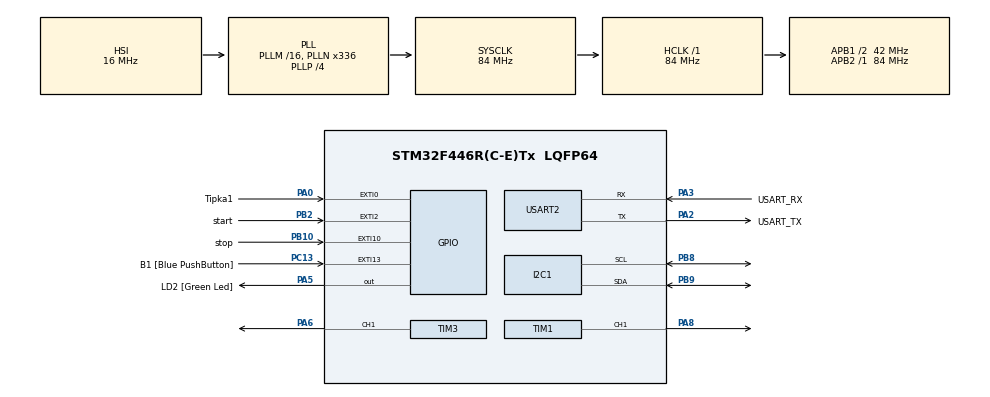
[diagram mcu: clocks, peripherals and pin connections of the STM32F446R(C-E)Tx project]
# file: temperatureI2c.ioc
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Mcu.Family=STM32F4
Mcu.Name=STM32F446R(C-E)Tx
Mcu.Package=LQFP64
NVIC.EXTI15_10_IRQn=true\:0\:0\:false\:false\:true\:true\:true\:true
NVIC.EXTI2_IRQn=true\:0\:0\:true\:false\:true\:true\:true\:true
NVIC.PriorityGroup=NVIC_PRIORITYGROUP_0
NVIC.TIM2_IRQn=true\:0\:0\:false\:false\:true\:true\:true\:true
NVIC.TIM3_IRQn=true\:0\:0\:false\:false\:true\:true\:true\:true
PA0-WKUP.GPIO_Label=Tipka1
PA0-WKUP.Signal=GPXTI0
PA13.GPIO_Label=TMS
PA13.Mode=Trace_Asynchronous_SW
PA13.Signal=SYS_JTMS-SWDIO
PA14.GPIO_Label=TCK
PA14.Mode=Trace_Asynchronous_SW
PA14.Signal=SYS_JTCK-SWCLK
PA2.GPIO_Label=USART_TX
PA2.Mode=Asynchronous
PA2.Signal=USART2_TX
PA3.GPIO_Label=USART_RX
PA3.Mode=Asynchronous
PA3.Signal=USART2_RX
PA5.GPIO_Label=LD2 [Green Led]
PA5.Signal=GPIO_Output
PA6.Signal=S_TIM3_CH1
PA8.Signal=S_TIM1_CH1
PB10.GPIO_Label=stop
PB10.GPIO_ModeDefaultEXTI=GPIO_MODE_IT_FALLING
PB10.GPIO_PuPd=GPIO_PULLUP
PB10.Signal=GPXTI10
PB2.GPIO_Label=start
PB2.GPIO_ModeDefaultEXTI=GPIO_MODE_IT_FALLING
PB2.GPIO_PuPd=GPIO_PULLUP
PB2.Signal=GPXTI2
PB3.GPIO_Label=SWO
PB3.Mode=Trace_Asynchronous_SW
PB3.Signal=SYS_JTDO-SWO
PB8.Mode=I2C
PB8.Signal=I2C1_SCL
PB9.Mode=I2C
PB9.Signal=I2C1_SDA
PC13.GPIO_Label=B1 [Blue PushButton]
PC13.GPIO_ModeDefaultEXTI=GPIO_MODE_IT_FALLING
PC13.Signal=GPXTI13
PC14-OSC32_IN.Mode=LSE-External-Oscillator
PC14-OSC32_IN.Signal=RCC_OSC32_IN
PC15-OSC32_OUT.Mode=LSE-External-Oscillator
PC15-OSC32_OUT.Signal=RCC_OSC32_OUT
PH0-OSC_IN.Mode=HSE-External-Oscillator
PH0-OSC_IN.Signal=RCC_OSC_IN
PH1-OSC_OUT.Mode=HSE-External-Oscillator
PH1-OSC_OUT.Signal=RCC_OSC_OUT
ProjectManager.HeapSize=0x200
ProjectManager.StackSize=0x400
ProjectManager.TargetToolchain=STM32CubeIDE
RCC.48MHZClocksFreq_Value=84000000
RCC.AHBFreq_Value=84000000
RCC.APB1CLKDivider=RCC_HCLK_DIV2
RCC.APB1Freq_Value=42000000
RCC.APB1TimFreq_Value=84000000
RCC.APB2Freq_Value=84000000
RCC.APB2TimFreq_Value=84000000
RCC.CortexFreq_Value=84000000
RCC.FLatency-AdvancedSettings=FLASH_LATENCY_2
RCC.HCLKFreq_Value=84000000
RCC.HSE_VALUE=8000000
RCC.HSI_VALUE=16000000
RCC.PLLN=336
RCC.PLLP=RCC_PLLP_DIV4
RCC.SYSCLKFreq_VALUE=84000000
RCC.SYSCLKSource=RCC_SYSCLKSOURCE_PLLCLK
RCC.USBFreq_Value=168000000
RCC.VCOOutputFreq_Value=336000000
SH.S_TIM1_CH1.0=TIM1_CH1,PWM Generation1 CH1
SH.S_TIM3_CH1.0=TIM3_CH1,PWM Generation1 CH1
TIM1.Channel-PWM\ Generation1\ CH1=TIM_CHANNEL_1
TIM1.Period=100-1
TIM1.Prescaler=84-1
TIM2.Period=50
TIM2.Prescaler=3200
TIM3.Channel-PWM\ Generation1\ CH1=TIM_CHANNEL_1
TIM3.Period=1000-1
TIM3.Prescaler=8399
USART2.VirtualMode=VM_ASYNC
VP_TIM1_VS_ClockSourceINT.Mode=Internal
VP_TIM2_VS_ClockSourceINT.Mode=Internal
VP_TIM3_VS_ClockSourceINT.Mode=Internal
board=NUCLEO-F446RE

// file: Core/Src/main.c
/* USER CODE BEGIN Header */
/**
  ******************************************************************************
  * @file           : main.c
  * @brief          : Main program body
  ******************************************************************************
  * @attention
  *
  * Copyright (c) 2024 STMicroelectronics.
  * All rights reserved.
  *
  * This software is licensed under terms that can be found in the LICENSE file
  * in the root directory of this software component.
  * If no LICENSE file comes with this software, it is provided AS-IS.
  *
  ******************************************************************************
  */
/* USER CODE END Header */
#include "main.h"

/* USER CODE BEGIN Includes */
#include <stdlib.h>	//c standard library for the print function
#include <stdio.h>
/* USER CODE END Includes */

/* USER CODE BEGIN PD */
//#define DEMO_PWM

extern int _write(int file, char *ptr, int len); /*ovo tu je deklaracija funkcije, funkcije "write" vraća int a njena definicija je u nekom vanjskom fileu*/
/* USER CODE END PD */

I2C_HandleTypeDef hi2c1;

TIM_HandleTypeDef htim1;
TIM_HandleTypeDef htim2;
TIM_HandleTypeDef htim3;

UART_HandleTypeDef huart2;

/* USER CODE BEGIN PV */
TIM_HandleTypeDef htim3; /*definicija globalnih varijabli*/
BMP280_HandleTypedef bmp280;
sensorData s = {}; /*u s se spremaju podaci senzora*/
bool mjerenjeOmoguceno = false;
/* USER CODE END PV */

void SystemClock_Config(void);
static void MX_GPIO_Init(void);
static void MX_USART2_UART_Init(void);
static void MX_I2C1_Init(void);
static void MX_TIM1_Init(void);
static void MX_TIM3_Init(void);
static void MX_TIM2_Init(void);
/* USER CODE BEGIN PFP */
static void MX_TIM3_Init(void);
/* USER CODE END PFP */

int main(void)
{

  /* MCU Configuration--------------------------------------------------------*/

  /* Reset of all peripherals, Initializes the Flash interface and the Systick. */
  HAL_Init();

  /* Configure the system clock */
  SystemClock_Config();

  /* Initialize all configured peripherals */
  MX_GPIO_Init();
  MX_USART2_UART_Init();
  MX_I2C1_Init();
  MX_TIM1_Init();
  MX_TIM3_Init();
  MX_TIM2_Init();
  /* USER CODE BEGIN 2 */
  MX_TIM3_Init();
  bmp280 = initBmpSensor(&hi2c1);
  initPwm(0, htim1); /*obavlja sve operacije koje su potrebne da bi neki komad sklopovlja radio*/

  int counter = 0;

#ifdef DEMO_PWM
  int pwmValue = 0;
#else

#endif

   HAL_NVIC_DisableIRQ(EXTI15_10_IRQn);

  /* USER CODE END 2 */

  /* Infinite loop */
  while (1)
  {

    /* USER CODE BEGIN 3 */

	// Blinky
	HAL_GPIO_TogglePin(GPIOA, GPIO_PIN_5);

	// Debug print
	printf("Counter=%d \r\n", counter++);

	// Read temperature
	if(mjerenjeOmoguceno){
		s = readAndPrintData(bmp280);
	}

	// adjust PWM value
#ifdef DEMO_PWM
	pwmValue = circularIncrementPwm(pwmValue);
#else
	temperaturePwm(s.temperature); /*iz varijable "s" izvlacimo i citamo vrijednost temperature*/
#endif

	// Wait 2 seconds before each reading
	HAL_Delay(2000);
  }
  /* USER CODE END 3 */
}

void SystemClock_Config(void)
{
  RCC_OscInitTypeDef RCC_OscInitStruct = {0};
  RCC_ClkInitTypeDef RCC_ClkInitStruct = {0};

  /** Configure the main internal regulator output voltage
  */
  __HAL_RCC_PWR_CLK_ENABLE();
  __HAL_PWR_VOLTAGESCALING_CONFIG(PWR_REGULATOR_VOLTAGE_SCALE3);

  /** Initializes the RCC Oscillators according to the specified parameters
  * in the RCC_OscInitTypeDef structure.
  */
  RCC_OscInitStruct.OscillatorType = RCC_OSCILLATORTYPE_HSI;
  RCC_OscInitStruct.HSIState = RCC_HSI_ON;
  RCC_OscInitStruct.HSICalibrationValue = RCC_HSICALIBRATION_DEFAULT;
  RCC_OscInitStruct.PLL.PLLState = RCC_PLL_ON;
  RCC_OscInitStruct.PLL.PLLSource = RCC_PLLSOURCE_HSI;
  RCC_OscInitStruct.PLL.PLLM = 16;
  RCC_OscInitStruct.PLL.PLLN = 336;
  RCC_OscInitStruct.PLL.PLLP = RCC_PLLP_DIV4;
  RCC_OscInitStruct.PLL.PLLQ = 2;
  RCC_OscInitStruct.PLL.PLLR = 2;
  if (HAL_RCC_OscConfig(&RCC_OscInitStruct) != HAL_OK)
  {
    Error_Handler();
  }

  /** Initializes the CPU, AHB and APB buses clocks
  */
  RCC_ClkInitStruct.ClockType = RCC_CLOCKTYPE_HCLK|RCC_CLOCKTYPE_SYSCLK
                              |RCC_CLOCKTYPE_PCLK1|RCC_CLOCKTYPE_PCLK2;
  RCC_ClkInitStruct.SYSCLKSource = RCC_SYSCLKSOURCE_PLLCLK;
  RCC_ClkInitStruct.AHBCLKDivider = RCC_SYSCLK_DIV1;
  RCC_ClkInitStruct.APB1CLKDivider = RCC_HCLK_DIV2;
  RCC_ClkInitStruct.APB2CLKDivider = RCC_HCLK_DIV1;

  if (HAL_RCC_ClockConfig(&RCC_ClkInitStruct, FLASH_LATENCY_2) != HAL_OK)
  {
    Error_Handler();
  }
}

static void MX_I2C1_Init(void)
{

  hi2c1.Instance = I2C1;
  hi2c1.Init.ClockSpeed = 100000;
  hi2c1.Init.DutyCycle = I2C_DUTYCYCLE_2;
  hi2c1.Init.OwnAddress1 = 0;
  hi2c1.Init.AddressingMode = I2C_ADDRESSINGMODE_7BIT;
  hi2c1.Init.DualAddressMode = I2C_DUALADDRESS_DISABLE;
  hi2c1.Init.OwnAddress2 = 0;
  hi2c1.Init.GeneralCallMode = I2C_GENERALCALL_DISABLE;
  hi2c1.Init.NoStretchMode = I2C_NOSTRETCH_DISABLE;
  if (HAL_I2C_Init(&hi2c1) != HAL_OK)
  {
    Error_Handler();
  }

}

static void MX_TIM1_Init(void)
{

  TIM_ClockConfigTypeDef sClockSourceConfig = {0};
  TIM_MasterConfigTypeDef sMasterConfig = {0};
  TIM_OC_InitTypeDef sConfigOC = {0};
  TIM_BreakDeadTimeConfigTypeDef sBreakDeadTimeConfig = {0};

  htim1.Instance = TIM1;
  htim1.Init.Prescaler = 84-1;
  htim1.Init.CounterMode = TIM_COUNTERMODE_UP;
  htim1.Init.Period = 100-1;
  htim1.Init.ClockDivision = TIM_CLOCKDIVISION_DIV1;
  htim1.Init.RepetitionCounter = 0;
  htim1.Init.AutoReloadPreload = TIM_AUTORELOAD_PRELOAD_DISABLE;
  if (HAL_TIM_Base_Init(&htim1) != HAL_OK)
  {
    Error_Handler();
  }
  sClockSourceConfig.ClockSource = TIM_CLOCKSOURCE_INTERNAL;
  if (HAL_TIM_ConfigClockSource(&htim1, &sClockSourceConfig) != HAL_OK)
  {
    Error_Handler();
  }
  if (HAL_TIM_PWM_Init(&htim1) != HAL_OK)
  {
    Error_Handler();
  }
  sMasterConfig.MasterOutputTrigger = TIM_TRGO_RESET;
  sMasterConfig.MasterSlaveMode = TIM_MASTERSLAVEMODE_DISABLE;
  if (HAL_TIMEx_MasterConfigSynchronization(&htim1, &sMasterConfig) != HAL_OK)
  {
    Error_Handler();
  }
  sConfigOC.OCMode = TIM_OCMODE_PWM1;
  sConfigOC.Pulse = 0;
  sConfigOC.OCPolarity = TIM_OCPOLARITY_HIGH;
  sConfigOC.OCNPolarity = TIM_OCNPOLARITY_HIGH;
  sConfigOC.OCFastMode = TIM_OCFAST_DISABLE;
  sConfigOC.OCIdleState = TIM_OCIDLESTATE_RESET;
  sConfigOC.OCNIdleState = TIM_OCNIDLESTATE_RESET;
  if (HAL_TIM_PWM_ConfigChannel(&htim1, &sConfigOC, TIM_CHANNEL_1) != HAL_OK)
  {
    Error_Handler();
  }
  sBreakDeadTimeConfig.OffStateRunMode = TIM_OSSR_DISABLE;
  sBreakDeadTimeConfig.OffStateIDLEMode = TIM_OSSI_DISABLE;
  sBreakDeadTimeConfig.LockLevel = TIM_LOCKLEVEL_OFF;
  sBreakDeadTimeConfig.DeadTime = 0;
  sBreakDeadTimeConfig.BreakState = TIM_BREAK_DISABLE;
  sBreakDeadTimeConfig.BreakPolarity = TIM_BREAKPOLARITY_HIGH;
  sBreakDeadTimeConfig.AutomaticOutput = TIM_AUTOMATICOUTPUT_DISABLE;
  if (HAL_TIMEx_ConfigBreakDeadTime(&htim1, &sBreakDeadTimeConfig) != HAL_OK)
  {
    Error_Handler();
  }
  HAL_TIM_MspPostInit(&htim1);

}

static void MX_TIM2_Init(void)
{

  TIM_ClockConfigTypeDef sClockSourceConfig = {0};
  TIM_MasterConfigTypeDef sMasterConfig = {0};

  htim2.Instance = TIM2;
  htim2.Init.Prescaler = 3200;
  htim2.Init.CounterMode = TIM_COUNTERMODE_UP;
  htim2.Init.Period = 50;
  htim2.Init.ClockDivision = TIM_CLOCKDIVISION_DIV1;
  htim2.Init.AutoReloadPreload = TIM_AUTORELOAD_PRELOAD_DISABLE;
  if (HAL_TIM_Base_Init(&htim2) != HAL_OK)
  {
    Error_Handler();
  }
  sClockSourceConfig.ClockSource = TIM_CLOCKSOURCE_INTERNAL;
  if (HAL_TIM_ConfigClockSource(&htim2, &sClockSourceConfig) != HAL_OK)
  {
    Error_Handler();
  }
  sMasterConfig.MasterOutputTrigger = TIM_TRGO_RESET;
  sMasterConfig.MasterSlaveMode = TIM_MASTERSLAVEMODE_DISABLE;
  if (HAL_TIMEx_MasterConfigSynchronization(&htim2, &sMasterConfig) != HAL_OK)
  {
    Error_Handler();
  }

}

static void MX_TIM3_Init(void)
{

  TIM_ClockConfigTypeDef sClockSourceConfig = {0};
  TIM_MasterConfigTypeDef sMasterConfig = {0};
  TIM_OC_InitTypeDef sConfigOC = {0};

  htim3.Instance = TIM3;
  htim3.Init.Prescaler = 8399;
  htim3.Init.CounterMode = TIM_COUNTERMODE_UP;
  htim3.Init.Period = 2000-1;
  htim3.Init.ClockDivision = TIM_CLOCKDIVISION_DIV1;
  htim3.Init.AutoReloadPreload = TIM_AUTORELOAD_PRELOAD_DISABLE;
  if (HAL_TIM_Base_Init(&htim3) != HAL_OK)
  {
    Error_Handler();
  }
  sClockSourceConfig.ClockSource = TIM_CLOCKSOURCE_INTERNAL;
  if (HAL_TIM_ConfigClockSource(&htim3, &sClockSourceConfig) != HAL_OK)
  {
    Error_Handler();
  }
  if (HAL_TIM_PWM_Init(&htim3) != HAL_OK)
  {
    Error_Handler();
  }
  sMasterConfig.MasterOutputTrigger = TIM_TRGO_RESET;
  sMasterConfig.MasterSlaveMode = TIM_MASTERSLAVEMODE_DISABLE;
  if (HAL_TIMEx_MasterConfigSynchronization(&htim3, &sMasterConfig) != HAL_OK)
  {
    Error_Handler();
  }
  sConfigOC.OCMode = TIM_OCMODE_PWM1;
  sConfigOC.Pulse = 0;
  sConfigOC.OCPolarity = TIM_OCPOLARITY_HIGH;
  sConfigOC.OCFastMode = TIM_OCFAST_DISABLE;
  if (HAL_TIM_PWM_ConfigChannel(&htim3, &sConfigOC, TIM_CHANNEL_1) != HAL_OK)
  {
    Error_Handler();
  }
  HAL_TIM_MspPostInit(&htim3);

}

static void MX_USART2_UART_Init(void)
{

  huart2.Instance = USART2;
  huart2.Init.BaudRate = 115200;
  huart2.Init.WordLength = UART_WORDLENGTH_8B;
  huart2.Init.StopBits = UART_STOPBITS_1;
  huart2.Init.Parity = UART_PARITY_NONE;
  huart2.Init.Mode = UART_MODE_TX_RX;
  huart2.Init.HwFlowCtl = UART_HWCONTROL_NONE;
  huart2.Init.OverSampling = UART_OVERSAMPLING_16;
  if (HAL_UART_Init(&huart2) != HAL_OK)
  {
    Error_Handler();
  }

}

static void MX_GPIO_Init(void)
{
  GPIO_InitTypeDef GPIO_InitStruct = {0};

  /* GPIO Ports Clock Enable */
  __HAL_RCC_GPIOC_CLK_ENABLE();
  __HAL_RCC_GPIOH_CLK_ENABLE();
  __HAL_RCC_GPIOA_CLK_ENABLE();
  __HAL_RCC_GPIOB_CLK_ENABLE();

  /*Configure GPIO pin Output Level */
  HAL_GPIO_WritePin(LD2_GPIO_Port, LD2_Pin, GPIO_PIN_RESET);

  /*Configure GPIO pin : B1_Pin */
  GPIO_InitStruct.Pin = B1_Pin;
  GPIO_InitStruct.Mode = GPIO_MODE_IT_FALLING;
  GPIO_InitStruct.Pull = GPIO_NOPULL;
  HAL_GPIO_Init(B1_GPIO_Port, &GPIO_InitStruct);

  /*Configure GPIO pin : Tipka1_Pin */
  GPIO_InitStruct.Pin = Tipka1_Pin;
  GPIO_InitStruct.Mode = GPIO_MODE_IT_RISING;
  GPIO_InitStruct.Pull = GPIO_NOPULL;
  HAL_GPIO_Init(Tipka1_GPIO_Port, &GPIO_InitStruct);

  /*Configure GPIO pin : LD2_Pin */
  GPIO_InitStruct.Pin = LD2_Pin;
  GPIO_InitStruct.Mode = GPIO_MODE_OUTPUT_PP;
  GPIO_InitStruct.Pull = GPIO_NOPULL;
  GPIO_InitStruct.Speed = GPIO_SPEED_FREQ_LOW;
  HAL_GPIO_Init(LD2_GPIO_Port, &GPIO_InitStruct);

  /*Configure GPIO pins : start_Pin stop_Pin */
  GPIO_InitStruct.Pin = start_Pin|stop_Pin;
  GPIO_InitStruct.Mode = GPIO_MODE_IT_FALLING;
  GPIO_InitStruct.Pull = GPIO_PULLUP;
  HAL_GPIO_Init(GPIOB, &GPIO_InitStruct);

  /* EXTI interrupt init*/
  HAL_NVIC_SetPriority(EXTI2_IRQn, 0, 0);
  HAL_NVIC_EnableIRQ(EXTI2_IRQn);

  HAL_NVIC_SetPriority(EXTI15_10_IRQn, 0, 0);
  HAL_NVIC_EnableIRQ(EXTI15_10_IRQn);

}

void Error_Handler(void)
{
  __disable_irq();
  while (1)
  {
  }
}
